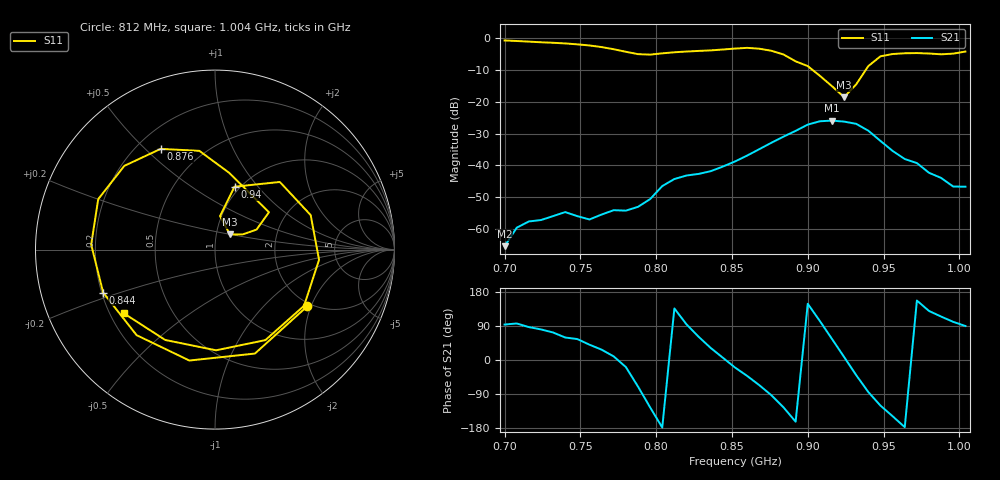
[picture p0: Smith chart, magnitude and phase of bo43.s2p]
# Hz S RI R 50
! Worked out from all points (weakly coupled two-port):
!   39 points, 700 MHz to 1.004 GHz, reference 50 ohm
!   highest |S21| = -25.92 dB at 916 MHz (marker M1); lowest = -65.5 dB at 700 MHz (marker M2)
!   lowest |S11| = -18.5 dB at 924 MHz (marker M3), VSWR 1.27, Z = 58.1 + j9.97 ohm
!   |S11| at or under -10 dB: 903.3 MHz to 938.2 MHz (34.93 MHz wide, 3.79 % of centre)
!   S12 and S22 are empty: the file has one direction only
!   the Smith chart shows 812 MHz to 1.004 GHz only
!   S11 on the Smith chart (normalised r, x): 812 MHz: 1.90, -1.88; 844 MHz: 0.21, -0.18; 876 MHz: 0.29, +0.56; 940 MHz: 0.94, +0.76; 1.004 GHz: 0.26, -0.30
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7e8  0.7617 0.5287  -3.31e-05 0.000529  0 0  0 0
7.24e8  0.8286 -0.2584  0.000221 0.00135  0 0  0 0
7.4e8  0.4465 -0.7026  0.000931 0.00157  0 0  0 0
7.56e8  -0.1991 -0.7473  0.00107 0.000904  0 0  0 0
7.72e8  -0.6494 -0.1804  0.00193 0.00032  0 0  0 0
7.8e8  -0.5668 0.2377  0.00182 -0.000614  0 0  0 0
7.88e8  -0.2035 0.5262  0.000751 -0.00208  0 0  0 0
7.96e8  0.2707 0.4841  -0.00168 -0.0024  0 0  0 0
8.04e8  0.5684 0.1189  -0.00469 -0.000158  0 0  0 0
8.12e8  0.5148 -0.3152  -0.00436 0.00422  0 0  0 0
8.28e8  -0.1428 -0.6181  0.00351 0.0064  0 0  0 0
8.44e8  -0.6231 -0.2394  0.00948 0.000987  0 0  0 0
8.52e8  -0.6898 0.0277  0.0108 -0.00388  0 0  0 0
8.76e8  -0.303 0.5611  -0.00118 -0.0226  0 0  0 0
9e8  0.3006 0.2082  -0.0372 0.023  0 0  0 0
9.08e8  0.2314 0.1113  -0.0109 0.0482  0 0  0 0
9.16e8  0.1544 0.0849  0.0287 0.0416  0 0  0 0
9.24e8  0.0831 0.0846  0.0483 0.00669  0 0  0 0
9.4e8  0.1086 0.3503  0.00317 -0.0348  0 0  0 0
9.56e8  0.5332 0.1921  -0.0143 -0.00879  0 0  0 0
9.8e8  0.2809 -0.5042  -0.00482 0.00588  0 0  0 0
1.004e9  -0.5083 -0.3547  1.91e-05 0.00459  0 0  0 0
